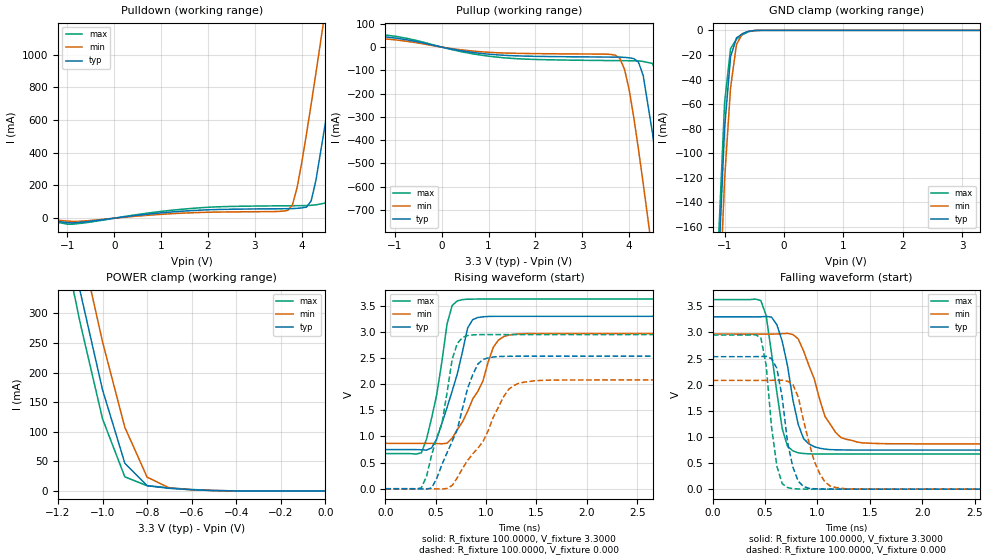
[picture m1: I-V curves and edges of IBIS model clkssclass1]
[IBIS Ver]   3.2
[Comment char]  |_char
[File Name]   memcnt.ibs
[File Rev]   0.0
[Date]   Oct 10, 2003
[Source]   Data created from SPICE simulations
[Notes]   For Demsonstration purposes only
|   IBIS File User Information:
[Disclaimer]   This information is for modeling purposes only and is
|   not guaranteed.
| Component MemCnt
[Component]   MemCnt
[Manufacturer]  Anyone.
[Package]
|   typ   min   max
R_pkg   280e-03   190e-03   360e-03
L_pkg   6.0e-09   3.4e-09   8.7e-09
C_pkg   1.13e-12   0.89e-12   2.2e-12
[Pin] signal_name   model_name   R_pin   L_pin   C_pin
1   MEM_CLK_0   sstl_clk
| end pin list
|   Model Selector
[Model Selector] sstl_clk
clkssclass1   3.3V SSTL3 Class I  Clock
| Models and submodels in the file (1): clkssclass1 (I/O)
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|   Model clkssclass1
[Model]   clkssclass1
Model_type   I/O
Polarity   Non-Inverting
Enable   Active-Low
Vinl =   0.8000V
Vinh =   2.0000V
Vmeas =   1.6500V
Cref =  50.0000pF
C_comp   3.4680pF   2.818pF   4.361pF
[Temperature Range]   40.0000   0.1050k   0.000
[Voltage Range]   3.3000V   2.9700V   3.6300V
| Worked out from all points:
|   slope of the pulldown table from 0 to 0.495 V, typ, clamps not added: 28 ohm
|   slope of the pullup table from 0 to 0.495 V, typ, clamps not added: 27.3 ohm
|   GND clamp passes 1 mA (typ) near -0.61 V on its own axis
|   POWER clamp passes 1 mA (typ) near -0.53 V on its own axis
|   rising waveform, R_fixture 100.0000, V_fixture 3.3000: 20-80 % time 222ps typ, 275ps min, 156ps max; typ from 0.749 V to 3.3 V
|   rising waveform, R_fixture 100.0000, V_fixture 0.000: 20-80 % time 266ps typ, 374ps min, 201ps max; typ from 0 V to 2.54 V
|   falling waveform, R_fixture 100.0000, V_fixture 3.3000: 20-80 % time 146ps typ, 222ps min, 125ps max; typ from 3.3 V to 0.749 V
|   falling waveform, R_fixture 100.0000, V_fixture 0.000: 20-80 % time 118ps typ, 168ps min, 91.4ps max; typ from 2.54 V to 0 V
[Pulldown]
| voltage   I(typ)   I(min)   I(max)
-3.3V     -713uA     -574uA     -843uA
-900mV    -28.57mA   -19.47mA   -36.46mA
3.7V      58.11mA    47.97mA    76.04mA
3.8V      58.8mA     80.7mA     76.26mA
3.9V      60.42mA    187.6mA    76.48mA
4.2V      105.8mA    697.3mA    78.93mA
4.5V      576.1mA    1.269A     92.84mA
4.7V      955.9mA    1.661A     310mA
4.9V      1.347A     2.057A     674.7mA
5.1V      1.745A     2.456A     1.063A
5.3V      2.146A     2.858A     1.461A
6.6V      4.805A     5.505A     4.123A
[Pullup]
| voltage   I(typ)   I(min)   I(max)
-3.3V     65.25mA    55.89mA    74.74mA
-1V       39.12mA    31.19mA    46.73mA
1.3V      -34.97mA   -25.26mA   -45.52mA
3.7V      -43.13mA   -34.36mA   -58.15mA
3.9V      -44.18mA   -94.95mA   -58.47mA
4.2V      -65.15mA   -441.5mA   -59.63mA
4.3V      -123.1mA   -587mA     -61.79mA
4.5V      -372.6mA   -889.6mA   -70.7mA
4.7V      -680.3mA   -1.2A      -189.1mA
4.9V      -1.002A    -1.514A    -484.6mA
5.1V      -1.33A     -1.83A     -816.3mA
6.6V      -3.835A    -4.229A    -3.435A
[GND_clamp]
| voltage   I(typ)   I(min)   I(max)
-3.3V     -3.732A    -3.637A    -3.858A
-1.1V     -189.3mA   -234.5mA   -167.6mA
-1V       -79.27mA   -121.2mA   -58.47mA
-900mV    -21.46mA   -46.65mA   -14.84mA
-800mV    -6.131mA   -11.41mA   -7.193mA
-700mV    -2.698mA   -2.746mA   -3.552mA
-600mV    -836.9uA   -818.5uA   -1.125mA
-400mV    -13.05uA   -24.45uA   -11.84uA
3.3V      7.269nA    21.85uA    3.112nA
[POWER_clamp]
| voltage   I(typ)   I(min)   I(max)
-3.3V     4.734A     4.782A     4.712A
-1.2V     516.6mA    600.5mA    464mA
-1.1V     336.1mA    420.6mA    283.1mA
-1V       170.6mA    251.7mA    121.6mA
-900mV    46.84mA    107.5mA    23.78mA
-800mV    8.963mA    23.39mA    8.727mA
-700mV    4.322mA    4.953mA    5.134mA
-600mV    2.02mA     1.94mA     2.447mA
-400mV    69.62uA    104.9uA    70.57uA
0V        7.269nA    30.25nA    5.083nA
[Ramp]
| variable   typ   min   max
dV/dt_r   1.5221/0.2649n   1.2490/0.3668n   1.7706/0.1983n
dV/dt_f   1.5308/0.1488n   1.2614/0.2118n   1.7747/0.1121n
R_load = 100.0000
[Rising Waveform]
R_fixture = 100.0000
V_fixture = 3.3000
V_fixture_min = 2.9700
V_fixture_max = 3.6300
| time   V(typ)   V(min)   V(max)
0s        748.6mV    867.7mV    672.1mV
357.1ps   745.7mV    868mV      687.5mV
510.2ps   954mV      865.1mV    1.806V
612.2ps   1.554V     870.9mV    3.154V
714.3ps   2.2V       1.133V     3.594V
816.3ps   3.075V     1.481V     3.628V
867.3ps   3.236V     1.719V     3.629V
1.071ns   3.299V     2.708V     3.63V
1.225ns   3.3V       2.94V      3.63V
5ns       3.3V       2.97V      3.63V
[Rising Waveform]
R_fixture = 100.0000
V_fixture = 0.000
| time   V(typ)   V(min)   V(max)
0s        194.6nV    292.7nV    171.8nV
357.1ps   -2.517mV   306.5uV    19.26mV
459.2ps   16.63mV    -624uV     644.7mV
561.2ps   459.9mV    -7.649mV   1.245V
663.3ps   906.5mV    62.97mV    2.48V
816.3ps   1.921V     542.8mV    2.933V
969.4ps   2.474V     905.9mV    2.95V
1.174ns   2.533V     1.762V     2.951V
1.327ns   2.537V     2.021V     2.951V
5ns       2.537V     2.082V     2.951V
[Falling Waveform]
R_fixture = 100.0000
V_fixture = 3.3000
V_fixture_min = 2.9700
V_fixture_max = 3.6300
| time   V(typ)   V(min)   V(max)
0s        3.3V       2.97V      3.63V
459.2ps   3.3V       2.97V      3.611V
510.2ps   3.308V     2.97V      3.323V
663.3ps   2.832V     2.977V     1.159V
714.3ps   2.358V     2.983V     817.1mV
816.3ps   1.239V     2.876V     695mV
918.4ps   866.8mV    2.368V     676.6mV
1.071ns   766.8mV    1.393V     672.5mV
1.378ns   749.1mV    904mV      672.1mV
5ns       748.6mV    867.7mV    672.1mV
[Falling Waveform]
R_fixture = 100.0000
V_fixture = 0.000
| time   V(typ)   V(min)   V(max)
0s        2.537V     2.082V     2.951V
459.2ps   2.54V      2.082V     2.898V
510.2ps   2.543V     2.082V     2.372V
561.2ps   2.5V       2.084V     1.193V
612.2ps   2.314V     2.087V     441.7mV
714.3ps   892.5mV    2.066V     31.62mV
867.3ps   48.31mV    1.31V      1.623mV
1.02ns    3.432mV    300.7mV    87.96uV
1.174ns   345.2uV    32.91mV    5.864uV
5ns       5.079nV    79.99nV    1.53nV
